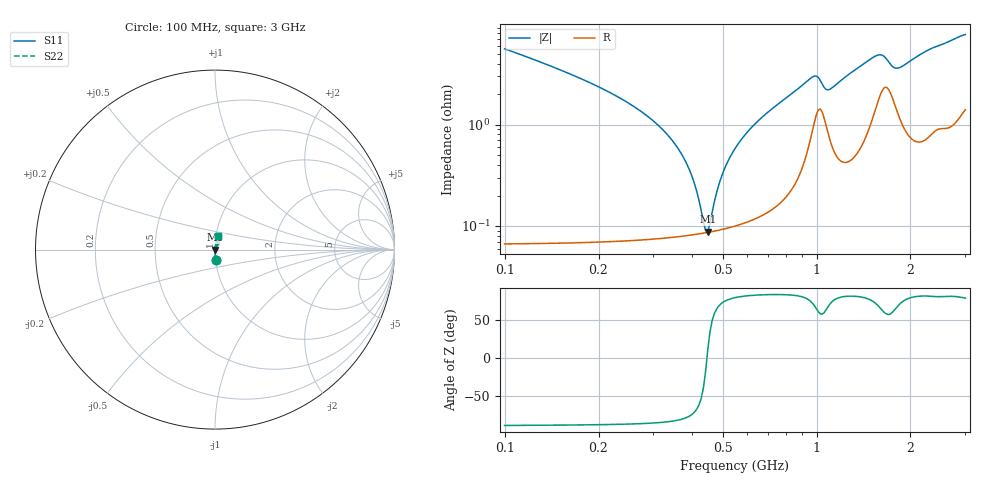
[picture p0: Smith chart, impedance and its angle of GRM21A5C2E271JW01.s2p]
!Murata Part Number: GRM21A5C2E271JW01
!These Parameters are Measured in Series Mode Connection
!Data Generated on Mar 30, 2021
!  o--ll--o
!Port1  Port2
!  o------o
!Operation Temp=25[degC], DC Bias Voltage=0[V]
!Freq. Start=100[MHz] Stop=3[GHz] 401[Steps]
# Hz S RI R 50
!Freq.(Hz) S11(Real) S11(Imag) S21(Real) S21(Imag) S12(Real) S12(Imag) S22(Real) S22(Imag)
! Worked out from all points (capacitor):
!   401 points, 100 MHz to 3 GHz, reference 50 ohm
!   read as one part in series: C = 270 pF near 114.5 MHz
!   lowest |Z| = 88.1 mohm at 448 MHz (marker M1)
!   series resonance near 445.3 MHz, so ESL is about 470 pH
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1e8  0.00379 -0.0558  0.9962 0.0558  0.9962 0.0558  0.00379 -0.0558
2.885e8  0.000878 -0.0119  0.9991 0.0119  0.9991 0.0119  0.000878 -0.0119
3.465e8  0.000819 -0.00678  0.9992 0.00678  0.9992 0.00678  0.000819 -0.00678
3.9e8  0.000821 -0.00357  0.9992 0.00357  0.9992 0.00357  0.000821 -0.00357
4.045e8  0.000828 -0.00259  0.9992 0.00259  0.9992 0.00259  0.000828 -0.00259
4.335e8  0.00085 -0.000723  0.9992 0.000723  0.9992 0.000723  0.00085 -0.000723
4.48e8  0.000865 0.000164  0.9991 -0.000164  0.9991 -0.000164  0.000865 0.000164
4.5525e8  0.000873 0.000599  0.9991 -0.000599  0.9991 -0.000599  0.000873 0.000599
4.8425e8  0.000912 0.00228  0.9991 -0.00228  0.9991 -0.00228  0.000912 0.00228
5.06e8  0.000947 0.00349  0.9991 -0.00349  0.9991 -0.00349  0.000947 0.00349
5.4225e8  0.00102 0.00542  0.999 -0.00542  0.999 -0.00542  0.00102 0.00542
5.8575e8  0.00112 0.00765  0.9989 -0.00765  0.9989 -0.00765  0.00112 0.00765
7.1625e8  0.00163 0.014  0.9984 -0.014  0.9984 -0.014  0.00163 0.014
9.6275e8  0.0086 0.0275  0.9914 -0.0275  0.9914 -0.0275  0.0086 0.0275
1.00625e9  0.0138 0.0259  0.9862 -0.0259  0.9862 -0.0259  0.0138 0.0259
1.0715e9  0.0102 0.0196  0.9898 -0.0196  0.9898 -0.0196  0.0102 0.0196
1.55e9  0.0164 0.0441  0.9836 -0.0441  0.9836 -0.0441  0.0164 0.0441
1.62975e9  0.0233 0.0409  0.9767 -0.0409  0.9767 -0.0409  0.0233 0.0409
1.7965e9  0.0154 0.032  0.9846 -0.032  0.9846 -0.032  0.0154 0.032
2.03575e9  0.00888 0.043  0.9911 -0.043  0.9911 -0.043  0.00888 0.043
2.5215e9  0.0127 0.0597  0.9873 -0.0597  0.9873 -0.0597  0.0127 0.0597
3e9  0.0194 0.0737  0.9806 -0.0737  0.9806 -0.0737  0.0194 0.0737
